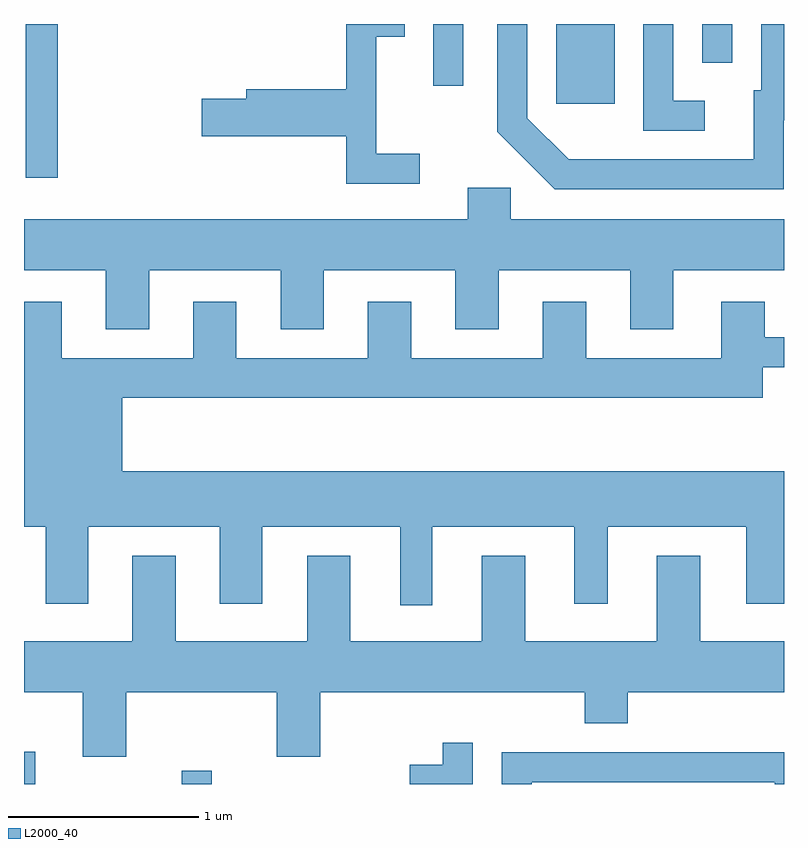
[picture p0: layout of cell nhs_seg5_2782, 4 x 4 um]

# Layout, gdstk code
import gdstk
lib = gdstk.Library(unit=1e-6, precision=1e-09)
def R(c, l, rs):  # rectangles x0, y0, x1, y1
    for r in rs: c.add(gdstk.rectangle(r[:2], r[2:], *l))
def P(c, l, *ps):  # polygons
    for p in ps: c.add(gdstk.Polygon(p, *l))
L2000_40 = (2000, 40)

nhs_seg5_2782 = lib.new_cell('nhs_seg5_2782')
R(nhs_seg5_2782, L2000_40, [(267.611,1474.072,267.669,1474.243), (268.441,1474.072,268.599,1474.143), (267.621,1477.263,267.789,1478.072), (270.411,1477.651,270.719,1478.072), (269.766,1477.748,269.924,1478.072), (271.181,1477.868,271.339,1478.072)])
P(nhs_seg5_2782, L2000_40, [(271.193,1477.669),(271.029,1477.669),(271.029,1478.072),(270.871,1478.072),(270.871,1477.511),(271.193,1477.511)],
  [(269.693,1477.389),(269.464,1477.389),(269.464,1478.006),(269.614,1478.006),(269.614,1478.072),(269.306,1478.072),(269.306,1477.729),(268.781,1477.729),(268.781,1477.679),(268.546,1477.679),(268.546,1477.481),(269.306,1477.481),(269.306,1477.231),(269.693,1477.231)],
  [(271.609,1477.566),(271.611,1477.566),(271.611,1478.072),(271.491,1478.072),(271.491,1477.724),(271.451,1477.724),(271.451,1477.359),(270.477,1477.359),(270.259,1477.577),(270.259,1478.072),(270.101,1478.072),(270.101,1477.504),(270.404,1477.201),(271.609,1477.201)],
  [(268.269,1476.776),(268.961,1476.776),(268.961,1476.466),(269.189,1476.466),(269.189,1476.776),(269.881,1476.776),(269.881,1476.466),(270.109,1476.466),(270.109,1476.776),(270.801,1476.776),(270.801,1476.466),(271.029,1476.466),(271.029,1476.776),(271.611,1476.776),(271.611,1477.044),(270.174,1477.044),(270.174,1477.209),(269.946,1477.209),(269.946,1477.044),(267.611,1477.044),(267.611,1476.776),(268.041,1476.776),(268.041,1476.466),(268.269,1476.466)],
  [(269.759,1475.426),(270.506,1475.426),(270.506,1475.021),(270.684,1475.021),(270.684,1475.426),(271.411,1475.426),(271.411,1475.021),(271.611,1475.021),(271.611,1475.719),(268.129,1475.719),(268.129,1476.106),(271.499,1476.106),(271.499,1476.266),(271.611,1476.266),(271.611,1476.424),(271.509,1476.424),(271.509,1476.609),(271.281,1476.609),(271.281,1476.314),(270.569,1476.314),(270.569,1476.609),(270.341,1476.609),(270.341,1476.314),(269.649,1476.314),(269.649,1476.609),(269.421,1476.609),(269.421,1476.314),(268.729,1476.314),(268.729,1476.609),(268.501,1476.609),(268.501,1476.314),(267.809,1476.314),(267.809,1476.609),(267.611,1476.609),(267.611,1475.426),(267.726,1475.426),(267.726,1475.021),(267.949,1475.021),(267.949,1475.426),(268.641,1475.426),(268.641,1475.021),(268.864,1475.021),(268.864,1475.426),(269.591,1475.426),(269.591,1475.013),(269.759,1475.013)],
  [(268.149,1474.556),(268.941,1474.556),(268.941,1474.216),(269.169,1474.216),(269.169,1474.556),(270.561,1474.556),(270.561,1474.391),(270.789,1474.391),(270.789,1474.556),(271.611,1474.556),(271.611,1474.824),(271.169,1474.824),(271.169,1475.274),(270.941,1475.274),(270.941,1474.824),(270.249,1474.824),(270.249,1475.274),(270.021,1475.274),(270.021,1474.824),(269.329,1474.824),(269.329,1475.274),(269.101,1475.274),(269.101,1474.824),(268.409,1474.824),(268.409,1475.274),(268.181,1475.274),(268.181,1474.824),(267.611,1474.824),(267.611,1474.556),(267.921,1474.556),(267.921,1474.216),(268.149,1474.216)],
  [(269.974,1474.288),(269.816,1474.288),(269.816,1474.174),(269.641,1474.174),(269.641,1474.072),(269.974,1474.072)],
  [(270.284,1474.081),(271.561,1474.081),(271.561,1474.072),(271.611,1474.072),(271.611,1474.239),(270.126,1474.239),(270.126,1474.072),(270.284,1474.072)])

lib.write_gds('nhs_seg5_2782.gds')
